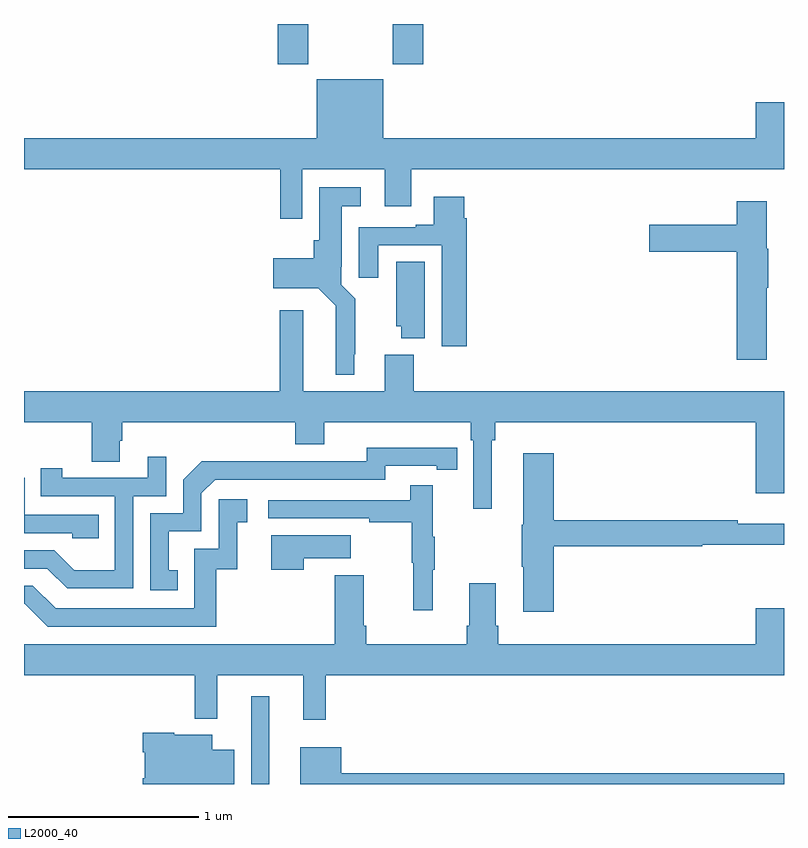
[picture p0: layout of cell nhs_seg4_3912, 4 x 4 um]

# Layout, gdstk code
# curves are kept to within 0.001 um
import gdstk
lib = gdstk.Library(unit=1e-6, precision=1e-09)
def R(c, l, rs):  # rectangles x0, y0, x1, y1
    for r in rs: c.add(gdstk.rectangle(r[:2], r[2:], *l))
def P(c, l, *ps):  # polygons
    for p in ps: c.add(gdstk.Polygon(p, *l))
L2000_40 = (2000, 40)

nhs_seg4_3912 = lib.new_cell('nhs_seg4_3912')
R(nhs_seg4_3912, L2000_40, [(318.195,810.9,318.292,811.363), (318.335,814.689,318.495,814.9), (318.94,814.689,319.1,814.9)])
P(nhs_seg4_3912, L2000_40, [(318.465,814.136),(318.899,814.136),(318.899,813.942),(319.039,813.942),(319.039,814.136),(321,814.136),(321,814.489),(320.852,814.489),(320.852,814.3),(318.892,814.3),(318.892,814.609),(318.542,814.609),(318.542,814.3),(317,814.3),(317,814.136),(318.349,814.136),(318.349,813.876),(318.465,813.876)],
  [(318.739,813.163),(318.743,813.163),(318.743,813.454),(318.669,813.528),(318.669,813.622),(318.673,813.622),(318.673,813.941),(318.772,813.941),(318.772,814.042),(318.554,814.042),(318.554,813.762),(318.524,813.762),(318.524,813.667),(318.312,813.667),(318.312,813.509),(318.549,813.509),(318.642,813.416),(318.641,813.053),(318.739,813.053)],
  [(319.331,813.878),(319.318,813.878),(319.318,813.991),(319.157,813.991),(319.157,813.844),(319.061,813.844),(319.061,813.831),(318.761,813.831),(318.761,813.564),(318.865,813.564),(318.865,813.735),(319.199,813.735),(319.199,813.204),(319.331,813.204)],
  [(320.908,813.511),(320.916,813.511),(320.916,813.717),(320.908,813.717),(320.908,813.967),(320.75,813.967),(320.75,813.843),(320.292,813.843),(320.292,813.701),(320.75,813.701),(320.75,813.132),(320.908,813.132)],
  [(319.108,813.65),(318.959,813.65),(318.959,813.309),(318.986,813.309),(318.986,813.245),(319.108,813.245)],
  [(319.462,812.708),(319.481,812.708),(319.481,812.804),(320.852,812.804),(320.852,812.43),(321,812.43),(321,812.968),(319.052,812.968),(319.052,813.16),(318.899,813.16),(318.899,812.968),(318.469,812.968),(318.469,813.394),(318.347,813.394),(318.347,812.968),(317,812.968),(317,812.804),(317.356,812.804),(317.356,812.596),(317.503,812.596),(317.503,812.706),(317.516,812.706),(317.516,812.804),(318.428,812.804),(318.428,812.687),(318.58,812.687),(318.58,812.804),(319.352,812.804),(319.352,812.708),(319.365,812.708),(319.365,812.349),(319.462,812.349)],
  [(317.81,812.025),(317.761,812.025),(317.761,812.229),(317.934,812.229),(317.934,812.43),(318.006,812.502),(318.9,812.502),(318.9,812.574),(319.172,812.574),(319.172,812.554),(319.28,812.554),(319.28,812.67),(318.804,812.671),(318.804,812.598),(318.344,812.598),(318.344,812.6),(317.936,812.6),(317.838,812.502),(317.838,812.325),(317.664,812.325),(317.664,811.92),(317.81,811.92)],
  [(319.787,812.152),(320.57,812.152),(320.57,812.16),(321,812.16),(321,812.269),(320.756,812.269),(320.756,812.288),(319.787,812.288),(319.787,812.641),(319.628,812.641),(319.628,812.265),(319.621,812.265),(319.621,812.044),(319.628,812.044),(319.628,811.806),(319.787,811.806)],
  [(317.574,812.415),(317.748,812.415),(317.748,812.623),(317.651,812.623),(317.651,812.511),(317.2,812.511),(317.2,812.563),(317.089,812.563),(317.089,812.415),(317.478,812.415),(317.478,812.026),(317.264,812.026),(317.16,812.13),(317,812.13),(317,812.034),(317.123,812.034),(317.228,811.929),(317.574,811.929)],
  [(317.393,812.316),(317.004,812.316),(317.004,812.511),(317,812.511),(317,812.22),(317.253,812.22),(317.253,812.193),(317.393,812.193)],
  [(319.151,812.027),(319.162,812.027),(319.162,812.201),(319.151,812.201),(319.151,812.473),(319.033,812.473),(319.033,812.394),(318.285,812.394),(318.285,812.298),(318.817,812.298),(318.817,812.278),(319.041,812.278),(319.041,812.064),(319.048,812.064),(319.048,811.815),(319.151,811.815)],
  [(318.011,812.031),(318.122,812.031),(318.122,812.277),(318.175,812.277),(318.175,812.398),(318.024,812.398),(318.024,812.139),(317.895,812.139),(317.895,811.824),(317.166,811.824),(317.046,811.944),(317,811.944),(317,811.848),(317.004,811.848),(317.124,811.728),(318.011,811.728)],
  [(318.473,812.087),(318.721,812.087),(318.721,812.209),(318.302,812.209),(318.302,812.028),(318.473,812.028)],
  [(321,811.825),(320.852,811.825),(320.852,811.636),(319.496,811.636),(319.496,811.732),(319.483,811.732),(319.483,811.957),(319.343,811.957),(319.343,811.732),(319.331,811.732),(319.331,811.636),(318.8,811.636),(318.8,811.732),(318.787,811.732),(318.787,811.999),(318.635,811.999),(318.635,811.636),(317,811.636),(317,811.472),(317.899,811.472),(317.899,811.244),(318.017,811.244),(318.017,811.472),(318.47,811.472),(318.47,811.239),(318.587,811.239),(318.587,811.472),(321,811.472)],
  [(318.106,811.081),(317.992,811.081),(317.992,811.159),(317.79,811.159),(317.79,811.171),(317.624,811.171),(317.624,811.067),(317.636,811.067),(317.636,810.931),(317.624,810.931),(317.624,810.9),(318.106,810.9)],
  [(321,810.956),(318.67,810.956),(318.67,811.093),(318.455,811.093),(318.455,810.9),(321,810.9)])

lib.write_gds('nhs_seg4_3912.gds')
